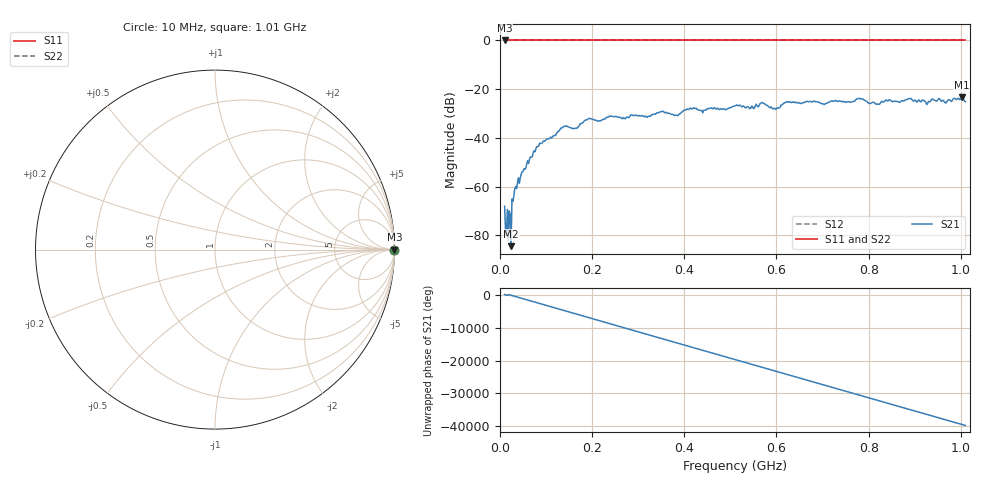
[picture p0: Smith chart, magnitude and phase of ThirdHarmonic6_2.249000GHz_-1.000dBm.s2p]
! 8/17/2025 2:41:34 AM
! C:\ANRITSUVNA\TEMP\TEMP.S2P
! CHANNEL.1
! TR.MEASUREMENT
! RAW.DATA
! RF.CORRECTION.OFF
! AVERAGING.OFF
! IF.BANDWIDTH: 5KHZ
! SWEEPTYPE:  FREQ.SWEEP(Linear)
! Reference Plane Port Info
! PORT:  PORT1  PORT2
! DISTANCE:  0  m  0  m
! TIME:  0  s  0  s
! PHASE.OFFSET:  0  deg.  0  deg.
! LOSS:  0  dB  0  dB
! REF.LOSS:  0  dB  0  dB
! REF.FREQ:  0  Hz  0  Hz
! Power Info
! POWER:  -20  dBm  -20  dBm
! EFF.POWER:  -20  dBm  -20  dBm
! SOURCE.ATTEN:  0  dB  0  dB
! TEST.ATTEN:  0  dB  0  dB
# GHZ S RI R 50.0
! FREQ.GHZ  S11RE  S11IM  S21RE  S21IM  S12RE  S12IM  S22RE  S22IM
!; PortSelection: Port_12
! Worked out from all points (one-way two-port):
!   501 points, 10 MHz to 1.01 GHz, reference 50 ohm
!   highest |S21| = -23.38 dB at 1.002 GHz (marker M1); lowest = -84.4 dB at 24 MHz (marker M2)
!   lowest |S11| = 0.0 dB at 10 MHz (marker M3)
!   |S11| at or under -10 dB: nowhere
!   |S22| runs from 0.0 to 0.0 dB; largest |S21 - S12| = 1.1
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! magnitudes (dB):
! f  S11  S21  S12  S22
! 10 MHz  0.0  -68.1  0.0  0.0
! 16 MHz  0.0  -69.4  0.0  0.0
! 22 MHz  0.0  -71.4  0.0  0.0
! 24 MHz  0.0  -84.4  0.0  0.0
! 28 MHz  0.0  -66.0  0.0  0.0
! 30 MHz  0.0  -64.1  0.0  0.0
! 36 MHz  0.0  -60.8  0.0  0.0
! 82 MHz  0.0  -43.6  0.0  0.0
! 136 MHz  0.0  -35.8  0.0  0.0
! 164 MHz  0.0  -36.1  0.0  0.0
! 178 MHz  0.0  -33.9  0.0  0.0
! 344 MHz  0.0  -29.7  0.0  0.0
! 382 MHz  0.0  -30.7  0.0  0.0
! 416 MHz  0.0  -28.1  0.0  0.0
! 510 MHz  0.0  -26.9  0.0  0.0
! 570 MHz  0.0  -25.7  0.0  0.0
! 596 MHz  0.0  -27.8  0.0  0.0
! 624 MHz  0.0  -25.4  0.0  0.0
! 678 MHz  0.0  -25.2  0.0  0.0
! 844 MHz  0.0  -24.4  0.0  0.0
! 1.002 GHz  0.0  -23.4  0.0  0.0
! 1.01 GHz  0.0  -25.1  0.0  0.0
